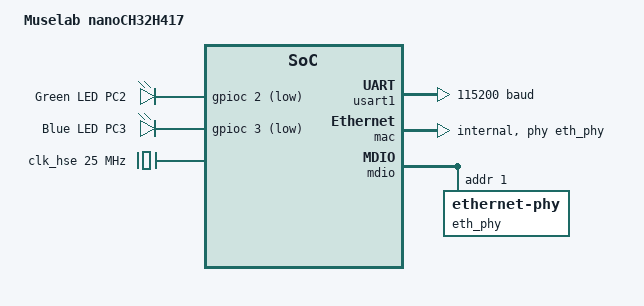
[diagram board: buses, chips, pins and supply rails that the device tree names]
/*
 * Copyright (c) 2026 Liu Changjie
 *
 * SPDX-License-Identifier: Apache-2.0
 */

/dts-v1/;

#include <wch/ch32h417/ch32h417_v5f.dtsi>
#include "nano_ch32h417-pinctrl.dtsi"
#include <zephyr/dt-bindings/gpio/gpio.h>

/ {
	compatible = "wch,ch32h417";
	model = "Muselab nanoCH32H417";

	chosen {
		zephyr,sram = &sram0;
		zephyr,flash = &flash0;
		zephyr,console = &usart1;
		zephyr,shell-uart = &usart1;
	};

	leds {
		compatible = "gpio-leds";
		status = "okay";

		led_0: led0 {
			gpios = <&gpioc 2 GPIO_ACTIVE_LOW>;
			label = "Green LED PC2";
		};

		led_1: led1 {
			gpios = <&gpioc 3 GPIO_ACTIVE_LOW>;
			label = "Blue LED PC3";
		};
	};

	aliases {
		led0 = &led_0;
		led1 = &led_1;
	};
};

&gpioa {
	status = "okay";
};

&gpiob {
	status = "okay";
};

&gpioc {
	status = "okay";
};

&gpiod {
	status = "okay";
};

&gpioe {
	status = "okay";
};

&gpiof {
	status = "okay";
};

&clk_hse {
	clock-frequency = <DT_FREQ_M(25)>;
	status = "okay";
};

&pll {
	clocks = <&clk_hse>;
	status = "okay";
};

&rcc {
	clocks = <&pll>;
};

&usart1 {
	current-speed = <115200>;
	pinctrl-0 = <&usart1_default>;
	pinctrl-names = "default";
	status = "okay";
};

&mac {
	pinctrl-0 = <&mac_default>;
	pinctrl-names = "default";
	phy-connection-type = "internal";
	phy-handle = <&eth_phy>;
	status = "okay";
};

&mdio {
	pinctrl-0 = <&mdio_default>;
	pinctrl-names = "default";
	status = "okay";

	eth_phy: ethernet-phy@1 {
		compatible = "ethernet-phy";
		reg = <1>;
	};
};
